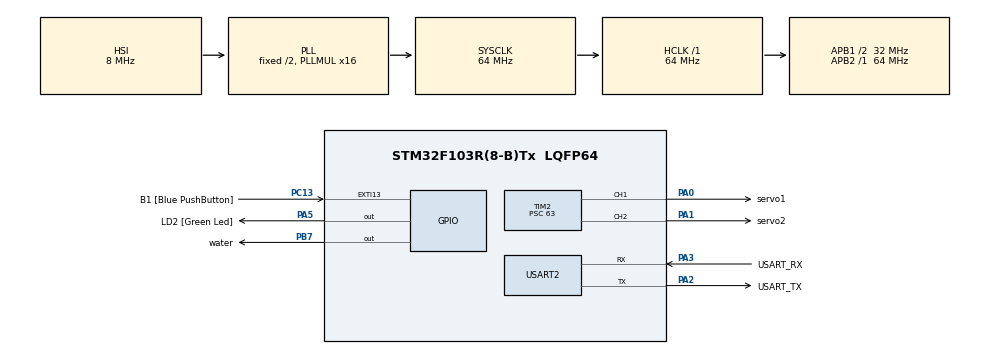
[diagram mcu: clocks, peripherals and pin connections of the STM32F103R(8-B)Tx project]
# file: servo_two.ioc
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Mcu.Family=STM32F1
Mcu.Name=STM32F103R(8-B)Tx
Mcu.Package=LQFP64
NVIC.EXTI15_10_IRQn=true\:0\:0\:false\:false\:true\:true\:true\:true
NVIC.PriorityGroup=NVIC_PRIORITYGROUP_4
NVIC.USART2_IRQn=true\:0\:0\:false\:false\:true\:true\:true\:true
PA0-WKUP.GPIO_Label=servo1
PA0-WKUP.Signal=S_TIM2_CH1_ETR
PA1.GPIO_Label=servo2
PA1.Signal=S_TIM2_CH2
PA13.GPIO_Label=TMS
PA13.Mode=Serial_Wire
PA13.Signal=SYS_JTMS-SWDIO
PA14.GPIO_Label=TCK
PA14.Mode=Serial_Wire
PA14.Signal=SYS_JTCK-SWCLK
PA2.GPIO_Label=USART_TX
PA2.GPIO_Mode=GPIO_MODE_AF_PP
PA2.GPIO_PuPd=GPIO_NOPULL
PA2.GPIO_Speed=GPIO_SPEED_FREQ_LOW
PA2.Mode=Asynchronous
PA2.Signal=USART2_TX
PA3.GPIO_Label=USART_RX
PA3.GPIO_Mode=GPIO_MODE_AF_PP
PA3.GPIO_PuPd=GPIO_NOPULL
PA3.GPIO_Speed=GPIO_SPEED_FREQ_LOW
PA3.Mode=Asynchronous
PA3.Signal=USART2_RX
PA5.GPIO_Label=LD2 [Green Led]
PA5.GPIO_ModeDefaultOutputPP=GPIO_MODE_OUTPUT_PP
PA5.GPIO_PuPd=GPIO_NOPULL
PA5.GPIO_Speed=GPIO_SPEED_FREQ_LOW
PA5.Signal=GPIO_Output
PB7.GPIO_Label=water
PB7.PinState=GPIO_PIN_SET
PB7.Signal=GPIO_Output
PC13-TAMPER-RTC.GPIO_Label=B1 [Blue PushButton]
PC13-TAMPER-RTC.GPIO_PuPd=GPIO_NOPULL
PC13-TAMPER-RTC.Signal=GPXTI13
PC14-OSC32_IN.Signal=RCC_OSC32_IN
PC15-OSC32_OUT.Signal=RCC_OSC32_OUT
PD0-OSC_IN.Signal=RCC_OSC_IN
PD1-OSC_OUT.Signal=RCC_OSC_OUT
ProjectManager.HeapSize=0x200
ProjectManager.StackSize=0x400
ProjectManager.TargetToolchain=STM32CubeIDE
RCC.AHBFreq_Value=64000000
RCC.APB1CLKDivider=RCC_HCLK_DIV2
RCC.APB1Freq_Value=32000000
RCC.APB1TimFreq_Value=64000000
RCC.APB2Freq_Value=64000000
RCC.APB2TimFreq_Value=64000000
RCC.HCLKFreq_Value=64000000
RCC.PLLMUL=RCC_PLL_MUL16
RCC.RTCClockSelection=RCC_RTCCLKSOURCE_LSE
RCC.SYSCLKFreq_VALUE=64000000
RCC.SYSCLKSource=RCC_SYSCLKSOURCE_PLLCLK
RCC.USBFreq_Value=64000000
SH.S_TIM2_CH1_ETR.0=TIM2_CH1,PWM Generation1 CH1
SH.S_TIM2_CH2.0=TIM2_CH2,PWM Generation2 CH2
TIM2.AutoReloadPreload=TIM_AUTORELOAD_PRELOAD_ENABLE
TIM2.Channel-PWM\ Generation1\ CH1=TIM_CHANNEL_1
TIM2.Channel-PWM\ Generation2\ CH2=TIM_CHANNEL_2
TIM2.Period=19999
TIM2.Prescaler=63
TIM2.Pulse-PWM\ Generation1\ CH1=1500
TIM2.Pulse-PWM\ Generation2\ CH2=500
USART2.VirtualMode=VM_ASYNC
VP_TIM2_VS_ClockSourceINT.Mode=Internal
board=NUCLEO-F103RB

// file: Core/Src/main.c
/* USER CODE BEGIN Header */
/**
  ******************************************************************************
  * @file           : main.c
  * @brief          : Main program body
  ******************************************************************************
  * @attention
  *
  * Copyright (c) 2025 STMicroelectronics.
  * All rights reserved.
  *
  * This software is licensed under terms that can be found in the LICENSE file
  * in the root directory of this software component.
  * If no LICENSE file comes with this software, it is provided AS-IS.
  *
  ******************************************************************************
  */
/* USER CODE END Header */
#include "main.h"

/* USER CODE BEGIN Includes */
#include <string.h>
#include <stdlib.h>
#include <math.h>
/* USER CODE END Includes */

/* USER CODE BEGIN PTD */
/* 제어 모드 */
typedef enum { MODE_IDLE = 0, MODE_GRID, MODE_TRACK } control_mode_t;
/* USER CODE END PTD */

/* USER CODE BEGIN PD */
/* 서보 펄스폭(us) 보정: 필요하면 미세 조정 */
#define SERVO1_MIN_US   1000   /* Pan  0°  */
#define SERVO1_MAX_US   2000   /* Pan  180° */
#define SERVO2_MIN_US   1000   /* Tilt 0°  */
#define SERVO2_MAX_US   2000   /* Tilt 180° */

/* 방향이 반대면 1로 바꿔서 반전 */
#define SERVO1_INVERT   1
#define SERVO2_INVERT   1

/* 기본 자세(미검출일 때) */
#define PAN_DEFAULT_DEG    90   /* 정면 */
#define TILT_DEFAULT_DEG    90

/* 스무딩 속도(한 틱당 각도 변화) & 제어주기 */
#define STEP_DEG            3.0f
#define CONTROL_PERIOD_MS  20u

/* 추적 신호 타임아웃(미검출 판정) */
#define DETECT_TIMEOUT_MS 1000u

/* [WATER+] 워터 스프레이: Active-Low (PB7=user label: water) */
#define WATER_ON()   HAL_GPIO_WritePin(water_GPIO_Port, water_Pin, GPIO_PIN_RESET) /* Low=ON  */
#define WATER_OFF()  HAL_GPIO_WritePin(water_GPIO_Port, water_Pin, GPIO_PIN_SET)   /* High=OFF */
/* USER CODE END PD */

/* USER CODE BEGIN PM */
#define CLAMP_U16(v,lo,hi) ((uint16_t)((v) < (lo) ? (lo) : ((v) > (hi) ? (hi) : (v))))
static inline uint8_t clamp_deg_int(int v){ return (uint8_t)(v<0?0:(v>180?180:v)); }
/* USER CODE END PM */

TIM_HandleTypeDef htim2;

UART_HandleTypeDef huart2;

/* USER CODE BEGIN PV */
/* UART 수신 라인 버퍼 */
static volatile uint8_t rx_byte;
static char  rx_line[64];
static uint8_t rx_idx = 0;

/* 제어 상태 */
static control_mode_t mode = MODE_IDLE;
static float pan_cur  = PAN_DEFAULT_DEG, pan_tgt  = PAN_DEFAULT_DEG;
static float tilt_cur = TILT_DEFAULT_DEG, tilt_tgt = TILT_DEFAULT_DEG;

/* 마지막 추적(T) 명령이 온 시각 */
static uint32_t last_detect_ms = 0;

/* 9분할 프리셋 (좌/중/우, 상/중/하) — 필요시 값 튜닝 */
static const uint8_t GRID_PAN[3]  = { 30,  90, 150 };  /* 좌 중 우 */
static const uint8_t GRID_TILT[3] = {120,  90,  60 };  /* 상 중 하 (기구에 맞게 조절) */
//static uint8_t boost_ticks = 0;

/* [WATER+] 스프레이 타이머 상태 */
static volatile uint8_t  spray_active = 0;
static uint32_t          spray_off_tick = 0;  /* HAL_GetTick() 기준 오프 시각 */
/* USER CODE END PV */

void SystemClock_Config(void);
static void MX_GPIO_Init(void);
static void MX_USART2_UART_Init(void);
static void MX_TIM2_Init(void);
/* USER CODE BEGIN PFP */
static uint16_t angle_to_us(uint8_t deg, uint16_t us_min, uint16_t us_max, uint8_t invert);
static void     servo1_set_deg(uint8_t deg);
static void     servo2_set_deg(uint8_t deg);
static void     move_toward(float *cur, float tgt, float step_deg);
static void     apply_default_pose(void);
static void     set_grid_cell(uint8_t cell_1to9);
static void     set_track_xy(float x, float y);
static void     handle_line(char *line);
/* USER CODE END PFP */

/* USER CODE BEGIN 0 */
static uint16_t angle_to_us(uint8_t deg, uint16_t us_min, uint16_t us_max, uint8_t invert)
{
  if (deg > 180) deg = 180;
  uint8_t d = invert ? (uint8_t)(180 - deg) : deg;
  int us = us_min + (int)((us_max - us_min) * (float)d / 180.0f + 0.5f);
  return CLAMP_U16(us, us_min, us_max);
}

static void servo1_set_deg(uint8_t deg)
{
  __HAL_TIM_SET_COMPARE(&htim2, TIM_CHANNEL_1,
    angle_to_us(deg, SERVO1_MIN_US, SERVO1_MAX_US, SERVO1_INVERT));
}

static void servo2_set_deg(uint8_t deg)
{
  __HAL_TIM_SET_COMPARE(&htim2, TIM_CHANNEL_2,
    angle_to_us(deg, SERVO2_MIN_US, SERVO2_MAX_US, SERVO2_INVERT));
}

static void move_toward(float *cur, float tgt, float step_deg)
{
  if (*cur < tgt) { *cur += step_deg; if (*cur > tgt) *cur = tgt; }
  else if (*cur > tgt) { *cur -= step_deg; if (*cur < tgt) *cur = tgt; }
}

static void apply_default_pose(void)
{
  mode = MODE_IDLE;
  pan_tgt  = PAN_DEFAULT_DEG;
  tilt_tgt = TILT_DEFAULT_DEG;
}

/* 1..9: 좌상(1) ~ 우하(9) */
static void set_grid_cell(uint8_t cell_1to9)
{
  if (cell_1to9 < 1 || cell_1to9 > 9) return;
  mode = MODE_GRID;
  uint8_t idx = (uint8_t)(cell_1to9 - 1);
  uint8_t row = idx / 3;   /* 0=상,1=중,2=하 */
  uint8_t col = idx % 3;   /* 0=좌,1=중,2=우 */
  pan_tgt  = GRID_PAN[col];
  tilt_tgt = GRID_TILT[row];
}

static void set_track_xy(float x, float y)
{
  if (x < 0) x = 0; if (x > 1) x = 1;
  if (y < 0) y = 0; if (y > 1) y = 1;
  mode = MODE_TRACK;
  pan_tgt  = 180.0f * x;
  tilt_tgt = 180.0f * y;
  last_detect_ms = HAL_GetTick();
}

/* 한 줄 명령: "N" / "C 5" / "T 0.45 0.62" + [WATER+] "SPRAY" */
static void handle_line(char *line)
{
  char *cmd = strtok(line, " \t\r\n");
  if (!cmd) return;

  if (strcmp(cmd, "N") == 0) {
    apply_default_pose();
  } else if (strcmp(cmd, "C") == 0) {
    char *sidx = strtok(NULL, " \t\r\n");
    if (sidx) set_grid_cell((uint8_t)atoi(sidx));
  } else if (strcmp(cmd, "T") == 0) {
    char *sx = strtok(NULL, " \t\r\n");
    char *sy = strtok(NULL, " \t\r\n");
    if (sx && sy) set_track_xy(strtof(sx, NULL), strtof(sy, NULL));
  }
  /* [WATER+] SPRAY: 5초간 분사 후 자동 OFF */
  else if (strcmp(cmd, "SPRAY") == 0) {
    WATER_ON();                               /* Active-Low: Low=ON */
    spray_active   = 1;
    spray_off_tick = HAL_GetTick() + 5000U;   /* 5초 */
  }
}

/* UART 인터럽트: 줄끝을 CR(0x0D) 또는 LF(0x0A)로 인식하도록 수정 */
// [CRLF]
void HAL_UART_RxCpltCallback(UART_HandleTypeDef *huart)
{
  if (huart->Instance == USART2) {
    uint8_t c = rx_byte;

    if (c == '\r' || c == '\n' || rx_idx >= sizeof(rx_line) - 1) {
      if (rx_idx > 0) {               /* CRLF 두 번 들어와도 한 번만 처리 */
        rx_line[rx_idx] = '\0';
        handle_line(rx_line);
        rx_idx = 0;

        const char ok[] = "OK\r\n";
        HAL_UART_Transmit(&huart2, (uint8_t*)ok, sizeof(ok)-1, 10);
      }
      /* else: 연속된 CR/LF는 무시 */
    } else {
      rx_line[rx_idx++] = (char)c;
    }

    HAL_UART_Receive_IT(&huart2, &rx_byte, 1);
  }
}
/* USER CODE END 0 */

int main(void)
{

  /* MCU Configuration--------------------------------------------------------*/

  HAL_Init();
  SystemClock_Config();

  MX_GPIO_Init();
  MX_USART2_UART_Init();
  MX_TIM2_Init();

  /* USER CODE BEGIN 2 */
  /* PWM 시작 */
  HAL_TIM_PWM_Start(&htim2, TIM_CHANNEL_1); /* servo1: Pan */
  HAL_TIM_PWM_Start(&htim2, TIM_CHANNEL_2); /* servo2: Tilt */

  /* Self-test */
  servo1_set_deg(90);  servo2_set_deg(90);  HAL_Delay(800);
  servo1_set_deg(60);  servo2_set_deg(60);  HAL_Delay(800);
  servo1_set_deg(120); servo2_set_deg(120); HAL_Delay(800);

  /* 기본 자세 */
  servo1_set_deg(PAN_DEFAULT_DEG);
  servo2_set_deg(TILT_DEFAULT_DEG);

  /* [WATER+] 부팅 시 확실히 OFF */
  WATER_OFF();

  /* UART 라인 수신 시작 */
  const char *hello = "READY\r\n";
  HAL_UART_Transmit(&huart2, (uint8_t*)hello, strlen(hello), 100);
  HAL_UART_Receive_IT(&huart2, &rx_byte, 1);

  uint32_t t_prev = HAL_GetTick();
  last_detect_ms = HAL_GetTick();
  /* USER CODE END 2 */

  /* Infinite loop */
  while (1)
  {
    /* 20 ms 주기로 스무딩 적용 */
    uint32_t now = HAL_GetTick();
    if (now - t_prev >= CONTROL_PERIOD_MS) {
      t_prev = now;

      /* 추적 신호 타임아웃 → 기본 자세 */
      if (mode == MODE_TRACK && (now - last_detect_ms) > DETECT_TIMEOUT_MS) {
        apply_default_pose();
      }

      /* [WATER+] 5초 지나면 자동 OFF */
      if (spray_active && (int32_t)(HAL_GetTick() - spray_off_tick) >= 0) {
        WATER_OFF();
        spray_active = 0;
      }

      /* 각도 범위 제한 & 스무딩 이동 */
      pan_tgt  = clamp_deg_int((int)lroundf(pan_tgt));
      tilt_tgt = clamp_deg_int((int)lroundf(tilt_tgt));
      move_toward(&pan_cur,  pan_tgt,  STEP_DEG);
      move_toward(&tilt_cur, tilt_tgt, STEP_DEG);

      servo1_set_deg((uint8_t)lroundf(pan_cur));
      servo2_set_deg((uint8_t)lroundf(tilt_cur));
    }

    /* UART polling fallback (non-blocking) — CR/LF 둘 다 줄끝 처리 */
    // [CRLF]
    static char pline[64]; static uint8_t pidx=0; uint8_t ch;
    while (HAL_UART_Receive(&huart2, &ch, 1, 0) == HAL_OK) {
      if (ch == '\r' || ch == '\n' || pidx >= sizeof(pline)-1) {
        if (pidx > 0) {
          pline[pidx] = '\0'; handle_line(pline); pidx = 0;
          const char ok[]="OK\r\n"; HAL_UART_Transmit(&huart2,(uint8_t*)ok,sizeof(ok)-1,10);
        }
      } else {
        pline[pidx++] = (char)ch;
      }
    }
  }
}

void SystemClock_Config(void)
{
  RCC_OscInitTypeDef RCC_OscInitStruct = {0};
  RCC_ClkInitTypeDef RCC_ClkInitStruct = {0};

  RCC_OscInitStruct.OscillatorType = RCC_OSCILLATORTYPE_HSI;
  RCC_OscInitStruct.HSIState = RCC_HSI_ON;
  RCC_OscInitStruct.HSICalibrationValue = RCC_HSICALIBRATION_DEFAULT;
  RCC_OscInitStruct.PLL.PLLState = RCC_PLL_ON;
  RCC_OscInitStruct.PLL.PLLSource = RCC_PLLSOURCE_HSI_DIV2;
  RCC_OscInitStruct.PLL.PLLMUL = RCC_PLL_MUL16;
  if (HAL_RCC_OscConfig(&RCC_OscInitStruct) != HAL_OK) { Error_Handler(); }

  RCC_ClkInitStruct.ClockType = RCC_CLOCKTYPE_HCLK|RCC_CLOCKTYPE_SYSCLK
                              |RCC_CLOCKTYPE_PCLK1|RCC_CLOCKTYPE_PCLK2;
  RCC_ClkInitStruct.SYSCLKSource = RCC_SYSCLKSOURCE_PLLCLK;
  RCC_ClkInitStruct.AHBCLKDivider = RCC_SYSCLK_DIV1;
  RCC_ClkInitStruct.APB1CLKDivider = RCC_HCLK_DIV2;
  RCC_ClkInitStruct.APB2CLKDivider = RCC_HCLK_DIV1;

  if (HAL_RCC_ClockConfig(&RCC_ClkInitStruct, FLASH_LATENCY_2) != HAL_OK) { Error_Handler(); }
}

static void MX_TIM2_Init(void)
{
  TIM_ClockConfigTypeDef sClockSourceConfig = {0};
  TIM_MasterConfigTypeDef sMasterConfig = {0};
  TIM_OC_InitTypeDef sConfigOC = {0};

  htim2.Instance = TIM2;
  htim2.Init.Prescaler = 63;
  htim2.Init.CounterMode = TIM_COUNTERMODE_UP;
  htim2.Init.Period = 19999;
  htim2.Init.ClockDivision = TIM_CLOCKDIVISION_DIV1;
  htim2.Init.AutoReloadPreload = TIM_AUTORELOAD_PRELOAD_ENABLE;
  if (HAL_TIM_Base_Init(&htim2) != HAL_OK) { Error_Handler(); }
  sClockSourceConfig.ClockSource = TIM_CLOCKSOURCE_INTERNAL;
  if (HAL_TIM_ConfigClockSource(&htim2, &sClockSourceConfig) != HAL_OK) { Error_Handler(); }
  if (HAL_TIM_PWM_Init(&htim2) != HAL_OK) { Error_Handler(); }
  sMasterConfig.MasterOutputTrigger = TIM_TRGO_RESET;
  sMasterConfig.MasterSlaveMode = TIM_MASTERSLAVEMODE_DISABLE;
  if (HAL_TIMEx_MasterConfigSynchronization(&htim2, &sMasterConfig) != HAL_OK) { Error_Handler(); }
  sConfigOC.OCMode = TIM_OCMODE_PWM1;
  sConfigOC.Pulse = 1500;
  sConfigOC.OCPolarity = TIM_OCPOLARITY_HIGH;
  sConfigOC.OCFastMode = TIM_OCFAST_DISABLE;
  if (HAL_TIM_PWM_ConfigChannel(&htim2, &sConfigOC, TIM_CHANNEL_1) != HAL_OK) { Error_Handler(); }
  sConfigOC.Pulse = 500;
  if (HAL_TIM_PWM_ConfigChannel(&htim2, &sConfigOC, TIM_CHANNEL_2) != HAL_OK) { Error_Handler(); }
  HAL_TIM_MspPostInit(&htim2);
}

static void MX_USART2_UART_Init(void)
{
  huart2.Instance = USART2;
  huart2.Init.BaudRate = 115200;
  huart2.Init.WordLength = UART_WORDLENGTH_8B;
  huart2.Init.StopBits = UART_STOPBITS_1;
  huart2.Init.Parity = UART_PARITY_NONE;
  huart2.Init.Mode = UART_MODE_TX_RX;
  huart2.Init.HwFlowCtl = UART_HWCONTROL_NONE;
  huart2.Init.OverSampling = UART_OVERSAMPLING_16;
  if (HAL_UART_Init(&huart2) != HAL_OK) { Error_Handler(); }
}

static void MX_GPIO_Init(void)
{
  GPIO_InitTypeDef GPIO_InitStruct = {0};

  __HAL_RCC_GPIOC_CLK_ENABLE();
  __HAL_RCC_GPIOD_CLK_ENABLE();
  __HAL_RCC_GPIOA_CLK_ENABLE();
  __HAL_RCC_GPIOB_CLK_ENABLE();

  /* LD2 */
  HAL_GPIO_WritePin(LD2_GPIO_Port, LD2_Pin, GPIO_PIN_RESET);

  /* water (Active-Low) — 기본 High=OFF */
  HAL_GPIO_WritePin(water_GPIO_Port, water_Pin, GPIO_PIN_SET);

  /* B1 */
  GPIO_InitStruct.Pin = B1_Pin;
  GPIO_InitStruct.Mode = GPIO_MODE_IT_RISING;
  GPIO_InitStruct.Pull = GPIO_NOPULL;
  HAL_GPIO_Init(B1_GPIO_Port, &GPIO_InitStruct);

  /* LD2 */
  GPIO_InitStruct.Pin = LD2_Pin;
  GPIO_InitStruct.Mode = GPIO_MODE_OUTPUT_PP;
  GPIO_InitStruct.Pull = GPIO_NOPULL;
  GPIO_InitStruct.Speed = GPIO_SPEED_FREQ_LOW;
  HAL_GPIO_Init(LD2_GPIO_Port, &GPIO_InitStruct);

  /* water */
  GPIO_InitStruct.Pin = water_Pin;
  GPIO_InitStruct.Mode = GPIO_MODE_OUTPUT_PP;
  GPIO_InitStruct.Pull = GPIO_NOPULL;
  GPIO_InitStruct.Speed = GPIO_SPEED_FREQ_LOW;
  HAL_GPIO_Init(water_GPIO_Port, &GPIO_InitStruct);

  /* EXTI init */
  HAL_NVIC_SetPriority(EXTI15_10_IRQn, 0, 0);
  HAL_NVIC_EnableIRQ(EXTI15_10_IRQn);
}

void Error_Handler(void)
{
  __disable_irq();
  while (1) { }
}
